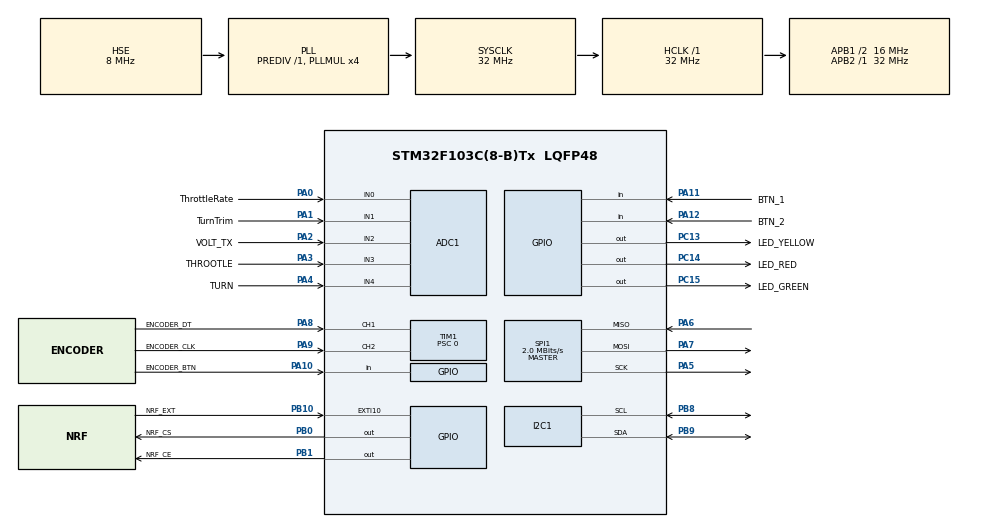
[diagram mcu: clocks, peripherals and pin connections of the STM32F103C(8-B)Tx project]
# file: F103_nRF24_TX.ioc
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ADC1.Channel-10\#ChannelRegularConversion=ADC_CHANNEL_2
ADC1.Channel-11\#ChannelRegularConversion=ADC_CHANNEL_1
ADC1.Channel-12\#ChannelRegularConversion=ADC_CHANNEL_0
ADC1.Channel-8\#ChannelRegularConversion=ADC_CHANNEL_3
ADC1.Channel-9\#ChannelRegularConversion=ADC_CHANNEL_4
ADC1.ContinuousConvMode=ENABLE
ADC1.DataAlign=ADC_DATAALIGN_RIGHT
ADC1.DiscontinuousConvMode=DISABLE
ADC1.EnableAnalogWatchDog=false
ADC1.EnableRegularConversion=ENABLE
ADC1.ExternalTrigConv=ADC_SOFTWARE_START
ADC1.InjNumberOfConversion=0
ADC1.NbrOfConversion=5
ADC1.NbrOfConversionFlag=1
ADC1.Rank-10\#ChannelRegularConversion=3
ADC1.Rank-11\#ChannelRegularConversion=4
ADC1.Rank-12\#ChannelRegularConversion=5
ADC1.Rank-8\#ChannelRegularConversion=1
ADC1.Rank-9\#ChannelRegularConversion=2
ADC1.SamplingTime-10\#ChannelRegularConversion=ADC_SAMPLETIME_239CYCLES_5
ADC1.SamplingTime-11\#ChannelRegularConversion=ADC_SAMPLETIME_239CYCLES_5
ADC1.SamplingTime-12\#ChannelRegularConversion=ADC_SAMPLETIME_239CYCLES_5
ADC1.SamplingTime-8\#ChannelRegularConversion=ADC_SAMPLETIME_239CYCLES_5
ADC1.SamplingTime-9\#ChannelRegularConversion=ADC_SAMPLETIME_239CYCLES_5
ADC1.ScanConvMode=ADC_SCAN_ENABLE
ADC1.master=1
Dma.ADC1.0.Direction=DMA_PERIPH_TO_MEMORY
Dma.ADC1.0.Instance=DMA1_Channel1
Dma.ADC1.0.MemDataAlignment=DMA_MDATAALIGN_HALFWORD
Dma.ADC1.0.MemInc=DMA_MINC_ENABLE
Dma.ADC1.0.Mode=DMA_CIRCULAR
Dma.ADC1.0.PeriphDataAlignment=DMA_PDATAALIGN_HALFWORD
Dma.ADC1.0.PeriphInc=DMA_PINC_DISABLE
Dma.ADC1.0.Priority=DMA_PRIORITY_MEDIUM
Dma.Request0=ADC1
I2C1.I2C_Mode=I2C_Fast
Mcu.Family=STM32F1
Mcu.Name=STM32F103C(8-B)Tx
Mcu.Package=LQFP48
NVIC.DMA1_Channel1_IRQn=true\:0\:0\:false\:false\:true\:false
NVIC.EXTI15_10_IRQn=true\:0\:0\:false\:false\:true\:true
NVIC.PriorityGroup=NVIC_PRIORITYGROUP_4
NVIC.TIM2_IRQn=true\:1\:0\:true\:false\:true\:true
NVIC.TIM3_IRQn=true\:0\:0\:false\:false\:true\:true
PA0-WKUP.GPIO_Label=ThrottleRate
PA0-WKUP.Signal=ADCx_IN0
PA1.GPIO_Label=TurnTrim
PA1.Signal=ADCx_IN1
PA10.GPIO_Label=ENCODER_BTN
PA10.GPIO_PuPd=GPIO_PULLUP
PA10.Signal=GPIO_Input
PA11.GPIO_Label=BTN_1
PA11.GPIO_PuPd=GPIO_PULLUP
PA11.Signal=GPIO_Input
PA12.GPIO_Label=BTN_2
PA12.GPIO_PuPd=GPIO_PULLUP
PA12.Signal=GPIO_Input
PA13.Mode=Serial_Wire
PA13.Signal=SYS_JTMS-SWDIO
PA14.Mode=Serial_Wire
PA14.Signal=SYS_JTCK-SWCLK
PA2.GPIO_Label=VOLT_TX
PA2.Signal=ADCx_IN2
PA3.GPIO_Label=THROOTLE
PA3.Signal=ADCx_IN3
PA4.GPIO_Label=TURN
PA4.Signal=ADCx_IN4
PA5.Mode=Full_Duplex_Master
PA5.Signal=SPI1_SCK
PA6.Mode=Full_Duplex_Master
PA6.Signal=SPI1_MISO
PA7.Mode=Full_Duplex_Master
PA7.Signal=SPI1_MOSI
PA8.GPIO_Label=ENCODER_DT
PA8.Signal=S_TIM1_CH1
PA9.GPIO_Label=ENCODER_CLK
PA9.Signal=S_TIM1_CH2
PB0.GPIO_Label=NRF_CS
PB0.Signal=GPIO_Output
PB1.GPIO_Label=NRF_CE
PB1.Signal=GPIO_Output
PB10.GPIO_Label=NRF_EXT
PB10.GPIO_ModeDefaultEXTI=GPIO_MODE_IT_FALLING
PB10.Signal=GPXTI10
PB8.Mode=I2C
PB8.Signal=I2C1_SCL
PB9.Mode=I2C
PB9.Signal=I2C1_SDA
PC13-TAMPER-RTC.GPIO_Label=LED_YELLOW
PC13-TAMPER-RTC.Signal=GPIO_Output
PC14-OSC32_IN.GPIO_Label=LED_RED
PC14-OSC32_IN.Signal=GPIO_Output
PC15-OSC32_OUT.GPIO_Label=LED_GREEN
PC15-OSC32_OUT.Signal=GPIO_Output
PD0-OSC_IN.Mode=HSE-External-Oscillator
PD0-OSC_IN.Signal=RCC_OSC_IN
PD1-OSC_OUT.Mode=HSE-External-Oscillator
PD1-OSC_OUT.Signal=RCC_OSC_OUT
ProjectManager.HeapSize=0x200
ProjectManager.StackSize=0x400
ProjectManager.TargetToolchain=MDK-ARM V5
RCC.ADCPresc=RCC_ADCPCLK2_DIV8
RCC.AHBFreq_Value=32000000
RCC.APB1CLKDivider=RCC_HCLK_DIV2
RCC.APB1Freq_Value=16000000
RCC.APB1TimFreq_Value=32000000
RCC.APB2Freq_Value=32000000
RCC.APB2TimFreq_Value=32000000
RCC.HCLKFreq_Value=32000000
RCC.PLLMUL=RCC_PLL_MUL4
RCC.PLLSourceVirtual=RCC_PLLSOURCE_HSE
RCC.SYSCLKFreq_VALUE=32000000
RCC.SYSCLKSource=RCC_SYSCLKSOURCE_PLLCLK
RCC.USBFreq_Value=32000000
SH.ADCx_IN0.0=ADC1_IN0,IN0
SH.ADCx_IN1.0=ADC1_IN1,IN1
SH.ADCx_IN2.0=ADC1_IN2,IN2
SH.ADCx_IN3.0=ADC1_IN3,IN3
SH.ADCx_IN4.0=ADC1_IN4,IN4
SH.S_TIM1_CH1.0=TIM1_CH1,Encoder_Interface
SH.S_TIM1_CH2.0=TIM1_CH2,Encoder_Interface
SPI1.BaudRatePrescaler=SPI_BAUDRATEPRESCALER_16
SPI1.CalculateBaudRate=2.0 MBits/s
SPI1.Direction=SPI_DIRECTION_2LINES
SPI1.Mode=SPI_MODE_MASTER
SPI1.VirtualType=VM_MASTER
TIM1.EncoderMode=TIM_ENCODERMODE_TI1
TIM1.Period=127
TIM1.Prescaler=0
TIM1.RepetitionCounter=0
TIM2.Period=63
TIM2.Prescaler=31999
TIM2.TIM_MasterOutputTrigger=TIM_TRGO_UPDATE
TIM2.TIM_MasterSlaveMode=TIM_MASTERSLAVEMODE_DISABLE
TIM3.Period=10
TIM3.Prescaler=31999
VP_TIM2_VS_ClockSourceINT.Mode=Internal
VP_TIM3_VS_ClockSourceINT.Mode=Internal
board=F103_nRF24_TX

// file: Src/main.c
/* USER CODE BEGIN Header */
/**
  ******************************************************************************
  * @file           : main.c
  * @brief          : Main program body
  ******************************************************************************
  ** This notice applies to any and all portions of this file
  * that are not between comment pairs USER CODE BEGIN and
  * USER CODE END. Other portions of this file, whether
  * inserted by the user or by software development tools
  * are owned by their respective copyright owners.
  *
  * COPYRIGHT(c) 2018 STMicroelectronics
  *
  * Redistribution and use in source and binary forms, with or without modification,
  * are permitted provided that the following conditions are met:
  *   1. Redistributions of source code must retain the above copyright notice,
  *      this list of conditions and the following disclaimer.
  *   2. Redistributions in binary form must reproduce the above copyright notice,
  *      this list of conditions and the following disclaimer in the documentation
  *      and/or other materials provided with the distribution.
  *   3. Neither the name of STMicroelectronics nor the names of its contributors
  *      may be used to endorse or promote products derived from this software
  *      without specific prior written permission.
  *
  * THIS SOFTWARE IS PROVIDED BY THE COPYRIGHT HOLDERS AND CONTRIBUTORS "AS IS"
  * AND ANY EXPRESS OR IMPLIED WARRANTIES, INCLUDING, BUT NOT LIMITED TO, THE
  * IMPLIED WARRANTIES OF MERCHANTABILITY AND FITNESS FOR A PARTICULAR PURPOSE ARE
  * DISCLAIMED. IN NO EVENT SHALL THE COPYRIGHT HOLDER OR CONTRIBUTORS BE LIABLE
  * FOR ANY DIRECT, INDIRECT, INCIDENTAL, SPECIAL, EXEMPLARY, OR CONSEQUENTIAL
  * DAMAGES (INCLUDING, BUT NOT LIMITED TO, PROCUREMENT OF SUBSTITUTE GOODS OR
  * SERVICES; LOSS OF USE, DATA, OR PROFITS; OR BUSINESS INTERRUPTION) HOWEVER
  * CAUSED AND ON ANY THEORY OF LIABILITY, WHETHER IN CONTRACT, STRICT LIABILITY,
  * OR TORT (INCLUDING NEGLIGENCE OR OTHERWISE) ARISING IN ANY WAY OUT OF THE USE
  * OF THIS SOFTWARE, EVEN IF ADVISED OF THE POSSIBILITY OF SUCH DAMAGE.
  *
  ******************************************************************************
  */
/* USER CODE END Header */

#include "main.h"

/* USER CODE BEGIN Includes */
#include "NRF24.h"
#include "ssd1306.h"
#include <string.h>
#include "New_CalibriLight14.h"

#define DRIVE HAL_GPIO_ReadPin(GPIOB, GPIO_PIN_3)==GPIO_PIN_SET
#define REAR  HAL_GPIO_ReadPin(GPIOB, GPIO_PIN_4)==GPIO_PIN_SET
#define LEFT  HAL_GPIO_ReadPin(GPIOB, GPIO_PIN_6)==GPIO_PIN_SET
#define RIGHT HAL_GPIO_ReadPin(GPIOB, GPIO_PIN_5)==GPIO_PIN_SET

#define LED_MAIN_ON			HAL_GPIO_WritePin(GPIOC, GPIO_PIN_14, GPIO_PIN_SET)
#define LED_MAIN_OFF			HAL_GPIO_WritePin(GPIOC, GPIO_PIN_14, GPIO_PIN_RESET)

#define LED_YELLOW_ON		HAL_GPIO_WritePin(GPIOC, GPIO_PIN_13, GPIO_PIN_SET)
#define LED_YELLOW_OFF  	HAL_GPIO_WritePin(GPIOC, GPIO_PIN_13, GPIO_PIN_RESET)
#define LED_YELLOW_TOG   	HAL_GPIO_TogglePin(GPIOC, GPIO_PIN_13)

#define REED_BTN_1 HAL_GPIO_ReadPin(GPIOA, GPIO_PIN_11)==GPIO_PIN_RESET
#define REED_BTN_2 HAL_GPIO_ReadPin(GPIOA, GPIO_PIN_12)==GPIO_PIN_RESET

/* USER CODE END Includes */

ADC_HandleTypeDef hadc1;
DMA_HandleTypeDef hdma_adc1;

I2C_HandleTypeDef hi2c1;

SPI_HandleTypeDef hspi1;

TIM_HandleTypeDef htim1;
TIM_HandleTypeDef htim2;
TIM_HandleTypeDef htim3;

/* USER CODE BEGIN PV */
/* Private variables ---------------------------------------------------------*/
char str1[20]={0};
uint8_t buf1[20]={0}; // Буфер на отправку
extern uint8_t RX_BUF[TX_PLOAD_WIDTH+1]; // Буфер приема

volatile uint16_t ADC_Data[10]; // Для хранения данных из DMA

float ADC_1_Percent;  // АЦП Руля
float ADC_2_Percent;	// АЦП Газа
float ADC_3_Percent;
float ADC_4_Percent;
char str[20];
float Volt = 0.0; 		// Переменная напряжения в пульте
uint16_t MenuDelay=0;	// Задержка работы меню, обновления дисплея
uint8_t OptionFlag = 0; // 1 - Если перешли в режим настройки

struct But {
	uint8_t ButEvent; // 1-Короткий клик, 2-Длиный клик.
	uint8_t ButDown; // 1-Если кнопка сейчас нажата.
	uint8_t ButFlag; // 1-Если сработало нажатие
	uint8_t ButEventTime; // Время, которое висит собитек кнопки.
	uint16_t ButDownTime;//время удержания кнопки.
	uint16_t ButUpTime;
};
extern struct But But1; // Машина состояний кнопки энкодера
uint8_t Menu = 11;			// Переменная для уровней меню
uint8_t OldParam, NewParam; //Старые и новые значения настраиваемых данных
/* USER CODE END PV */

void SystemClock_Config(void);
static void MX_GPIO_Init(void);
static void MX_DMA_Init(void);
static void MX_SPI1_Init(void);
static void MX_I2C1_Init(void);
static void MX_ADC1_Init(void);
static void MX_TIM1_Init(void);
static void MX_TIM2_Init(void);
static void MX_TIM3_Init(void);
/* USER CODE BEGIN PFP */
/* Private function prototypes -----------------------------------------------*/

void MainMenu (void);
uint8_t SetResBits (uint8_t set, uint8_t value, uint8_t pos);
uint8_t CheckBits (uint8_t value, uint8_t pos);

/* USER CODE END PFP */

int main(void)
{
  /* USER CODE BEGIN 1 */
	static uint8_t dt; // Переменная для количества попыток отправления.
	static uint16_t i=1;
	uint16_t ADC_1, ADC_1_sr, ADC_1_sr_trim, ADC_1_max=0, ADC_1_min=4096;
	uint16_t ADC_2, ADC_2_sr, ADC_2_max=0, ADC_2_min=4096;

	uint16_t rate = 0; //расходы газа
	int16_t trim = 0; // Тример руля

	uint8_t LedFlashNumb = 0;
  /* USER CODE END 1 */

  /* MCU Configuration--------------------------------------------------------*/

  /* Reset of all peripherals, Initializes the Flash interface and the Systick. */
  HAL_Init();

  /* Configure the system clock */
  SystemClock_Config();

  /* Initialize all configured peripherals */
  MX_GPIO_Init();
  MX_DMA_Init();
  MX_SPI1_Init();
  MX_I2C1_Init();
  MX_ADC1_Init();
  MX_TIM1_Init();
  MX_TIM2_Init();
  MX_TIM3_Init();
  /* USER CODE BEGIN 2 */
	HAL_Delay(100);

	i=0;
	while ((LCD_init() !=1)||i<50){
		i++;
		LedFlashNumb++;
		if (LedFlashNumb == 1) {
			LED_GREEN_ON;
			LED_YELLOW_OFF;
			LED_MAIN_OFF;
		} else if (LedFlashNumb == 2) {
			LED_GREEN_OFF;
			LED_YELLOW_ON;
			LED_MAIN_OFF;
		} else if (LedFlashNumb == 3) {
			LED_GREEN_OFF;
			LED_YELLOW_OFF;
			LED_MAIN_ON;
		} else if (LedFlashNumb > 3) LedFlashNumb = 0;
	}

	LED_MAIN_ON;

	HAL_ADC_Start_DMA(&hadc1,(uint32_t*) &ADC_Data,5);
	HAL_TIM_Encoder_Start(&htim1, TIM_CHANNEL_ALL);
	TIM1->CNT = 2; // Стартовое положение энкодера;

	NRF24_ini();
	HAL_Delay(10);
	HAL_TIM_Base_Start_IT(&htim2);
	HAL_TIM_Base_Start_IT(&htim3);

	ADC_1_max=3700;
	ADC_1_min=205;
	ADC_1_sr_trim = 2018;
	ADC_1_sr = 2018; //50% 2018

	ADC_2_max=2800;
	ADC_2_min=1095;
	ADC_2_sr = 2220; // 44%

  /* USER CODE END 2 */

  /* Infinite loop */
  while (1)
  {

    /* USER CODE BEGIN 3 */

		if (MenuDelay>5){
			MainMenu();
			MenuDelay = 0;
		}
		MenuDelay++;

//		ADC_2 = ((float)ADC_Data[0]);
//		ADC_2_Percent=(100.0/(ADC_2_max-ADC_2_min))*(ADC_2-ADC_2_min);

		Volt = 0.00278 * ADC_Data[2];

		if (OptionFlag == 0) { // если не находимся в режиме настроек.

			rate = (uint16_t)(0.025 * ADC_Data[3]);
			if (rate > 100 ) rate = 100;
			if (rate < 0 ) rate = 0;
			rate = 100 - rate;

			trim = (0.05 * (ADC_Data[4] - 2000)) + (1 - 0.05) * trim;

         ADC_1_sr = ADC_1_sr_trim + trim;
			ADC_1 = ADC_Data[1];

			if (ADC_1 > ADC_1_sr) {
				if (ADC_1 > ADC_1_max) ADC_1 = ADC_1_max;
				ADC_1_Percent = ((100.0) / (ADC_1_max - ADC_1_sr)) * (ADC_1 - ADC_1_sr);
				buf1[0] = 100 + (uint8_t) ADC_1_Percent;
			}

			if (ADC_1 < ADC_1_sr) {
				if (ADC_1 < ADC_1_min) ADC_1 = ADC_1_min;
				ADC_1_Percent = ((100.0) / (ADC_1_sr - ADC_1_min)) * (ADC_1 - ADC_1_sr);
				buf1[0] = 100 - (uint8_t) ADC_1_Percent;
			}

			ADC_2 = ADC_Data[0];

			if (ADC_2 > ADC_2_sr) {
				ADC_2_Percent = ((100.0 - rate) / (ADC_2_max - ADC_2_sr)) * (ADC_2 - ADC_2_sr);
				if (ADC_2_Percent > 100) ADC_2_Percent = 100;
				buf1[1] = 100 - (uint8_t) ADC_2_Percent;
			} else

			if (ADC_2 < ADC_2_sr) {
				ADC_2_Percent = ((100.0 - rate) / (ADC_2_sr - ADC_2_min)) * (ADC_2 - ADC_2_sr);
				if (ADC_2_Percent > 100) ADC_2_Percent = 100;
				buf1[1] = 100 + (uint8_t) ADC_2_Percent;
			}

			if ((ADC_2 > ADC_2_sr - 50) && (ADC_2 < ADC_2_sr + 50)) {
				buf1[1] = 100;
			}

			LED_YELLOW_OFF;

//			buf1[0] = 100;
//			buf1[1] = 100;

			if (REED_BTN_1) {
				buf1[2] = SetResBits(1,buf1[2],1);
			} else {
				buf1[2] = SetResBits(0,buf1[2],1);
			}
			if (REED_BTN_2) {
				buf1[2] = SetResBits(1,buf1[2],2);
			} else {
				buf1[2] = SetResBits(0,buf1[2],2);
			}
			HAL_Delay(20);
			dt = NRF24L01_Send(buf1);
		}
		else {
			HAL_Delay(10);
			LED_YELLOW_ON;
		}

		if ((Menu>20 && Menu<30)||OptionFlag==1)
			NRF24L01_Receive();
  }
  /* USER CODE END 3 */
}

void SystemClock_Config(void)
{
  RCC_OscInitTypeDef RCC_OscInitStruct = {0};
  RCC_ClkInitTypeDef RCC_ClkInitStruct = {0};
  RCC_PeriphCLKInitTypeDef PeriphClkInit = {0};

  /**Initializes the CPU, AHB and APB busses clocks
  */
  RCC_OscInitStruct.OscillatorType = RCC_OSCILLATORTYPE_HSE;
  RCC_OscInitStruct.HSEState = RCC_HSE_ON;
  RCC_OscInitStruct.HSEPredivValue = RCC_HSE_PREDIV_DIV1;
  RCC_OscInitStruct.HSIState = RCC_HSI_ON;
  RCC_OscInitStruct.PLL.PLLState = RCC_PLL_ON;
  RCC_OscInitStruct.PLL.PLLSource = RCC_PLLSOURCE_HSE;
  RCC_OscInitStruct.PLL.PLLMUL = RCC_PLL_MUL4;
  if (HAL_RCC_OscConfig(&RCC_OscInitStruct) != HAL_OK)
  {
    Error_Handler();
  }
  /**Initializes the CPU, AHB and APB busses clocks
  */
  RCC_ClkInitStruct.ClockType = RCC_CLOCKTYPE_HCLK|RCC_CLOCKTYPE_SYSCLK
                              |RCC_CLOCKTYPE_PCLK1|RCC_CLOCKTYPE_PCLK2;
  RCC_ClkInitStruct.SYSCLKSource = RCC_SYSCLKSOURCE_PLLCLK;
  RCC_ClkInitStruct.AHBCLKDivider = RCC_SYSCLK_DIV1;
  RCC_ClkInitStruct.APB1CLKDivider = RCC_HCLK_DIV2;
  RCC_ClkInitStruct.APB2CLKDivider = RCC_HCLK_DIV1;

  if (HAL_RCC_ClockConfig(&RCC_ClkInitStruct, FLASH_LATENCY_1) != HAL_OK)
  {
    Error_Handler();
  }
  PeriphClkInit.PeriphClockSelection = RCC_PERIPHCLK_ADC;
  PeriphClkInit.AdcClockSelection = RCC_ADCPCLK2_DIV8;
  if (HAL_RCCEx_PeriphCLKConfig(&PeriphClkInit) != HAL_OK)
  {
    Error_Handler();
  }
}

static void MX_ADC1_Init(void)
{

  ADC_ChannelConfTypeDef sConfig = {0};

  /**Common config
  */
  hadc1.Instance = ADC1;
  hadc1.Init.ScanConvMode = ADC_SCAN_ENABLE;
  hadc1.Init.ContinuousConvMode = ENABLE;
  hadc1.Init.DiscontinuousConvMode = DISABLE;
  hadc1.Init.ExternalTrigConv = ADC_SOFTWARE_START;
  hadc1.Init.DataAlign = ADC_DATAALIGN_RIGHT;
  hadc1.Init.NbrOfConversion = 5;
  if (HAL_ADC_Init(&hadc1) != HAL_OK)
  {
    Error_Handler();
  }
  /**Configure Regular Channel
  */
  sConfig.Channel = ADC_CHANNEL_3;
  sConfig.Rank = ADC_REGULAR_RANK_1;
  sConfig.SamplingTime = ADC_SAMPLETIME_239CYCLES_5;
  if (HAL_ADC_ConfigChannel(&hadc1, &sConfig) != HAL_OK)
  {
    Error_Handler();
  }
  /**Configure Regular Channel
  */
  sConfig.Channel = ADC_CHANNEL_4;
  sConfig.Rank = ADC_REGULAR_RANK_2;
  if (HAL_ADC_ConfigChannel(&hadc1, &sConfig) != HAL_OK)
  {
    Error_Handler();
  }
  /**Configure Regular Channel
  */
  sConfig.Channel = ADC_CHANNEL_2;
  sConfig.Rank = ADC_REGULAR_RANK_3;
  if (HAL_ADC_ConfigChannel(&hadc1, &sConfig) != HAL_OK)
  {
    Error_Handler();
  }
  /**Configure Regular Channel
  */
  sConfig.Channel = ADC_CHANNEL_1;
  sConfig.Rank = ADC_REGULAR_RANK_4;
  if (HAL_ADC_ConfigChannel(&hadc1, &sConfig) != HAL_OK)
  {
    Error_Handler();
  }
  /**Configure Regular Channel
  */
  sConfig.Channel = ADC_CHANNEL_0;
  sConfig.Rank = ADC_REGULAR_RANK_5;
  if (HAL_ADC_ConfigChannel(&hadc1, &sConfig) != HAL_OK)
  {
    Error_Handler();
  }

}

static void MX_I2C1_Init(void)
{

  hi2c1.Instance = I2C1;
  hi2c1.Init.ClockSpeed = 400000;
  hi2c1.Init.DutyCycle = I2C_DUTYCYCLE_2;
  hi2c1.Init.OwnAddress1 = 0;
  hi2c1.Init.AddressingMode = I2C_ADDRESSINGMODE_7BIT;
  hi2c1.Init.DualAddressMode = I2C_DUALADDRESS_DISABLE;
  hi2c1.Init.OwnAddress2 = 0;
  hi2c1.Init.GeneralCallMode = I2C_GENERALCALL_DISABLE;
  hi2c1.Init.NoStretchMode = I2C_NOSTRETCH_DISABLE;
  if (HAL_I2C_Init(&hi2c1) != HAL_OK)
  {
    Error_Handler();
  }

}

static void MX_SPI1_Init(void)
{

  /* SPI1 parameter configuration*/
  hspi1.Instance = SPI1;
  hspi1.Init.Mode = SPI_MODE_MASTER;
  hspi1.Init.Direction = SPI_DIRECTION_2LINES;
  hspi1.Init.DataSize = SPI_DATASIZE_8BIT;
  hspi1.Init.CLKPolarity = SPI_POLARITY_LOW;
  hspi1.Init.CLKPhase = SPI_PHASE_1EDGE;
  hspi1.Init.NSS = SPI_NSS_SOFT;
  hspi1.Init.BaudRatePrescaler = SPI_BAUDRATEPRESCALER_16;
  hspi1.Init.FirstBit = SPI_FIRSTBIT_MSB;
  hspi1.Init.TIMode = SPI_TIMODE_DISABLE;
  hspi1.Init.CRCCalculation = SPI_CRCCALCULATION_DISABLE;
  hspi1.Init.CRCPolynomial = 10;
  if (HAL_SPI_Init(&hspi1) != HAL_OK)
  {
    Error_Handler();
  }

}

static void MX_TIM1_Init(void)
{

  TIM_Encoder_InitTypeDef sConfig = {0};
  TIM_MasterConfigTypeDef sMasterConfig = {0};

  htim1.Instance = TIM1;
  htim1.Init.Prescaler = 0;
  htim1.Init.CounterMode = TIM_COUNTERMODE_UP;
  htim1.Init.Period = 127;
  htim1.Init.ClockDivision = TIM_CLOCKDIVISION_DIV1;
  htim1.Init.RepetitionCounter = 0;
  htim1.Init.AutoReloadPreload = TIM_AUTORELOAD_PRELOAD_DISABLE;
  sConfig.EncoderMode = TIM_ENCODERMODE_TI1;
  sConfig.IC1Polarity = TIM_ICPOLARITY_RISING;
  sConfig.IC1Selection = TIM_ICSELECTION_DIRECTTI;
  sConfig.IC1Prescaler = TIM_ICPSC_DIV1;
  sConfig.IC1Filter = 0;
  sConfig.IC2Polarity = TIM_ICPOLARITY_RISING;
  sConfig.IC2Selection = TIM_ICSELECTION_DIRECTTI;
  sConfig.IC2Prescaler = TIM_ICPSC_DIV1;
  sConfig.IC2Filter = 0;
  if (HAL_TIM_Encoder_Init(&htim1, &sConfig) != HAL_OK)
  {
    Error_Handler();
  }
  sMasterConfig.MasterOutputTrigger = TIM_TRGO_RESET;
  sMasterConfig.MasterSlaveMode = TIM_MASTERSLAVEMODE_DISABLE;
  if (HAL_TIMEx_MasterConfigSynchronization(&htim1, &sMasterConfig) != HAL_OK)
  {
    Error_Handler();
  }

}

static void MX_TIM2_Init(void)
{

  TIM_ClockConfigTypeDef sClockSourceConfig = {0};
  TIM_MasterConfigTypeDef sMasterConfig = {0};

  htim2.Instance = TIM2;
  htim2.Init.Prescaler = 31999;
  htim2.Init.CounterMode = TIM_COUNTERMODE_UP;
  htim2.Init.Period = 63;
  htim2.Init.ClockDivision = TIM_CLOCKDIVISION_DIV1;
  htim2.Init.AutoReloadPreload = TIM_AUTORELOAD_PRELOAD_DISABLE;
  if (HAL_TIM_Base_Init(&htim2) != HAL_OK)
  {
    Error_Handler();
  }
  sClockSourceConfig.ClockSource = TIM_CLOCKSOURCE_INTERNAL;
  if (HAL_TIM_ConfigClockSource(&htim2, &sClockSourceConfig) != HAL_OK)
  {
    Error_Handler();
  }
  sMasterConfig.MasterOutputTrigger = TIM_TRGO_UPDATE;
  sMasterConfig.MasterSlaveMode = TIM_MASTERSLAVEMODE_DISABLE;
  if (HAL_TIMEx_MasterConfigSynchronization(&htim2, &sMasterConfig) != HAL_OK)
  {
    Error_Handler();
  }

}

static void MX_TIM3_Init(void)
{

  TIM_ClockConfigTypeDef sClockSourceConfig = {0};
  TIM_MasterConfigTypeDef sMasterConfig = {0};

  htim3.Instance = TIM3;
  htim3.Init.Prescaler = 31999;
  htim3.Init.CounterMode = TIM_COUNTERMODE_UP;
  htim3.Init.Period = 10;
  htim3.Init.ClockDivision = TIM_CLOCKDIVISION_DIV1;
  htim3.Init.AutoReloadPreload = TIM_AUTORELOAD_PRELOAD_DISABLE;
  if (HAL_TIM_Base_Init(&htim3) != HAL_OK)
  {
    Error_Handler();
  }
  sClockSourceConfig.ClockSource = TIM_CLOCKSOURCE_INTERNAL;
  if (HAL_TIM_ConfigClockSource(&htim3, &sClockSourceConfig) != HAL_OK)
  {
    Error_Handler();
  }
  sMasterConfig.MasterOutputTrigger = TIM_TRGO_RESET;
  sMasterConfig.MasterSlaveMode = TIM_MASTERSLAVEMODE_DISABLE;
  if (HAL_TIMEx_MasterConfigSynchronization(&htim3, &sMasterConfig) != HAL_OK)
  {
    Error_Handler();
  }

}

static void MX_DMA_Init(void)
{
  /* DMA controller clock enable */
  __HAL_RCC_DMA1_CLK_ENABLE();

  /* DMA interrupt init */
  /* DMA1_Channel1_IRQn interrupt configuration */
  HAL_NVIC_SetPriority(DMA1_Channel1_IRQn, 0, 0);
  HAL_NVIC_EnableIRQ(DMA1_Channel1_IRQn);

}

static void MX_GPIO_Init(void)
{
  GPIO_InitTypeDef GPIO_InitStruct = {0};

  /* GPIO Ports Clock Enable */
  __HAL_RCC_GPIOC_CLK_ENABLE();
  __HAL_RCC_GPIOD_CLK_ENABLE();
  __HAL_RCC_GPIOA_CLK_ENABLE();
  __HAL_RCC_GPIOB_CLK_ENABLE();

  /*Configure GPIO pin Output Level */
  HAL_GPIO_WritePin(GPIOC, LED_YELLOW_Pin|LED_RED_Pin|LED_GREEN_Pin, GPIO_PIN_RESET);

  /*Configure GPIO pin Output Level */
  HAL_GPIO_WritePin(GPIOB, NRF_CS_Pin|NRF_CE_Pin, GPIO_PIN_RESET);

  /*Configure GPIO pins : LED_YELLOW_Pin LED_RED_Pin LED_GREEN_Pin */
  GPIO_InitStruct.Pin = LED_YELLOW_Pin|LED_RED_Pin|LED_GREEN_Pin;
  GPIO_InitStruct.Mode = GPIO_MODE_OUTPUT_PP;
  GPIO_InitStruct.Pull = GPIO_NOPULL;
  GPIO_InitStruct.Speed = GPIO_SPEED_FREQ_LOW;
  HAL_GPIO_Init(GPIOC, &GPIO_InitStruct);

  /*Configure GPIO pins : NRF_CS_Pin NRF_CE_Pin */
  GPIO_InitStruct.Pin = NRF_CS_Pin|NRF_CE_Pin;
  GPIO_InitStruct.Mode = GPIO_MODE_OUTPUT_PP;
  GPIO_InitStruct.Pull = GPIO_NOPULL;
  GPIO_InitStruct.Speed = GPIO_SPEED_FREQ_LOW;
  HAL_GPIO_Init(GPIOB, &GPIO_InitStruct);

  /*Configure GPIO pin : NRF_EXT_Pin */
  GPIO_InitStruct.Pin = NRF_EXT_Pin;
  GPIO_InitStruct.Mode = GPIO_MODE_IT_FALLING;
  GPIO_InitStruct.Pull = GPIO_NOPULL;
  HAL_GPIO_Init(NRF_EXT_GPIO_Port, &GPIO_InitStruct);

  /*Configure GPIO pins : ENCODER_BTN_Pin BTN_1_Pin BTN_2_Pin */
  GPIO_InitStruct.Pin = ENCODER_BTN_Pin|BTN_1_Pin|BTN_2_Pin;
  GPIO_InitStruct.Mode = GPIO_MODE_INPUT;
  GPIO_InitStruct.Pull = GPIO_PULLUP;
  HAL_GPIO_Init(GPIOA, &GPIO_InitStruct);

  /* EXTI interrupt init*/
  HAL_NVIC_SetPriority(EXTI15_10_IRQn, 0, 0);
  HAL_NVIC_EnableIRQ(EXTI15_10_IRQn);

}

/* USER CODE BEGIN 4 */
void HAL_GPIO_EXTI_Callback(uint16_t GPIO_Pin)
{
  if(GPIO_Pin== GPIO_PIN_10)
  {
    IRQ_Callback();
  }
  else
  {
    __NOP();
  }
}

void HAL_TIM_PeriodElapsedCallback(TIM_HandleTypeDef *htim)
{
  if(htim==&htim2)
  {
    TIM1_Callback();
  }
}

void MainMenu (void){
	char str[20];
	float VoltRx = 0;
	uint8_t i=0;

	if (But1.ButEvent == 1 && (Menu == 11 || Menu == 21 || Menu == 31)) {
		Menu += 10;
		if (Menu > 40)
			Menu -= 30;
		But1.ButEvent = 0;
	}
//======================= Первый уровень меню ==========================
	if (Menu>10 && Menu<20) {

		LCD_RectFill(1,1,32,128,0x00);
		LCD_BarHorizont(1,1,5,50,buf1[0]/2,0x01,0x00);
		sprintf(str,"Ch1 = %d", buf1[0]);
//		sprintf(str,"Ch1 = %d", ADC_Data[1]);
		StringCalibriLight14(6,1,str,0x01,0x02);

		LCD_BarHorizont(1,60,5,50,buf1[1]/2,0x01,0x00);
		sprintf(str,"Ch2 = %d", buf1[1]);
		StringCalibriLight14(6,60,str,0x01,0x02);

		sprintf(str,"Длит. наж - Настройка");
		StringCalibriLight14(20,1,str,0x01,0x02);
		buf1[4] = 0;
//---------------------- Переход в подменю -------------------------------
		if (But1.ButEvent == 2 && Menu == 11) {
			LCD_RectFill(1,1,32,128,0x00);
			StringCalibriLight14(1,1,"Для выхода длинно",0x01,0x02);
			StringCalibriLight14(14,1,"нажмите кнопку",0x01,0x02);
			PrintBuf();
			Menu++;
			OptionFlag = 1; // Перешли в режим настройки
			HAL_Delay(1500);
			if (Menu>14) Menu = 12;
			But1.ButEvent = 0;
		}
//---------------------- Переход в подменю -------------------------------
//-------------------------- Подменю 1 -----------------------------------
		if (Menu == 12){
			LCD_RectFill(1,1,32,128,0x00);
			sprintf(str,"Max влево=%d", RX_BUF[0]);
			StringCalibriLight14(6,1,str,0x01,0x02);
			buf1[4] = 2; // 4 - настройка центра рулевой машинки.
			NRF24L01_Send(buf1);
			HAL_Delay(3);

			if (RX_BUF[0] > 0 && RX_BUF[4] == 2) { // если данные от приемника пришли.
				if (TIM1->CNT == 1) {
					TIM1->CNT = 2;
					buf1[0] = RX_BUF[0] + 1;
				}
				if (TIM1->CNT == 3) {
					TIM1->CNT = 2;
					buf1[0] = RX_BUF[0] - 1;
				}
			}
			if (TIM1->CNT<1 || TIM1->CNT>3) TIM1->CNT = 2;

			if (But1.ButEvent==2){
				Menu = 11;
				OptionFlag = 0;
				But1.ButEvent = 0;
			}
			if (But1.ButEvent==1){
				Menu = 13;
				RX_BUF[0] = 0;
				RX_BUF[4] = 0;
				But1.ButEvent = 0;
			}
		}
//-------------------------- Подменю 1 -----------------------------------
//-------------------------- Подменю 2 -----------------------------------
		if (Menu == 13){
			LCD_RectFill(1,1,32,128,0x00);
			sprintf(str,"Max вправо=%d", RX_BUF[0]);
			StringCalibriLight14(6,1,str,0x01,0x02);
			buf1[4] = 3; // 4 - настройка центра рулевой машинки.
			NRF24L01_Send(buf1);
			HAL_Delay(3);

			if (RX_BUF[0] > 0 && RX_BUF[4] == 3) { // если данные от приемника пришли.
				if (TIM1->CNT == 1) {
					TIM1->CNT = 2;
					buf1[0] = RX_BUF[0] + 1;
				}
				if (TIM1->CNT == 3) {
					TIM1->CNT = 2;
					buf1[0] = RX_BUF[0] - 1;
				}
			}
			if (TIM1->CNT<1 || TIM1->CNT>3) TIM1->CNT = 2;

			if (But1.ButEvent==2){
				Menu = 11;
				OptionFlag = 0;
				But1.ButEvent = 0;
			}
			if (But1.ButEvent==1){
				Menu = 14;
				RX_BUF[0] = 0;
				RX_BUF[4] = 0;
				But1.ButEvent = 0;
			}
		}
//-------------------------- Подменю 2 -----------------------------------
//-------------------------- Подменю 3 -----------------------------------
		if (Menu == 14){
			LCD_RectFill(1,1,32,128,0x00);
			sprintf(str,"Центр - %d", RX_BUF[0]);
			StringCalibriLight14(6,60,str,0x01,0x02);
			buf1[4] = 5; // 5 - настройка центра рулевой машинки.
			NRF24L01_Send(buf1);
			HAL_Delay(3);

			if (RX_BUF[0] > 0 && RX_BUF[4] == 5) { // если данные от приемника пришли.
				if (TIM1->CNT == 1) {
					TIM1->CNT = 2;
					buf1[0] = RX_BUF[0] + 1;
				}
				if (TIM1->CNT == 3) {
					TIM1->CNT = 2;
					buf1[0] = RX_BUF[0] - 1;
				}
			}
			if (TIM1->CNT<1 || TIM1->CNT>3) TIM1->CNT = 2;

			if (But1.ButEvent==2){
				Menu = 11;
				OptionFlag = 0;
				But1.ButEvent = 0;
			}
			if (But1.ButEvent==1){
				Menu = 15;
				RX_BUF[0] = 0;
				RX_BUF[4] = 0;
				But1.ButEvent = 0;
			}
		}
//-------------------------- Подменю 3 -----------------------------------
//-------------------------- Подменю 4 -----------------------------------
		if (Menu == 15){
			LCD_RectFill(1,1,32,128,0x00);
			sprintf(str,"Макс. мощ - %d", RX_BUF[0]);
			StringCalibriLight14(6,1,str,0x01,0x02);
			buf1[4] = 6; // 4 - настройка центра рулевой машинки.
			NRF24L01_Send(buf1);
			HAL_Delay(3);

			if (RX_BUF[0] > 0 && RX_BUF[4] == 6) { // если данные от приемника пришли.
				if (TIM1->CNT == 1) {
					TIM1->CNT = 2;
					buf1[0] = RX_BUF[0] + 1;
				}
				if (TIM1->CNT == 3) {
					TIM1->CNT = 2;
					buf1[0] = RX_BUF[0] - 1;
				}
			}
			if (TIM1->CNT<1 || TIM1->CNT>3) TIM1->CNT = 2;

			if (But1.ButEvent==2){
				Menu = 11;
				OptionFlag = 0;
				But1.ButEvent = 0;
			}
			if (But1.ButEvent==1){
				Menu = 12;
				RX_BUF[0] = 0;
				RX_BUF[4] = 0;
				But1.ButEvent = 0;
			}
		}
	}
//-------------------------- Подменю 4 -----------------------------------
//======================= Первый уровень меню ==========================

//======================= Второй уровень меню ==========================
	if (Menu>20 && Menu<30) {
		LCD_RectFill(1,1,32,128,0x00);
		sprintf(str,"Батарея пульта = %.1f В", Volt);
		StringCalibriLight14(1,1,str,0x01,0x02);

//		LCD_BarHorizont(1,60,5,50,(uint8_t)100 - (100/1.7)*(6 - Volt),0x01,0x00);

		memcpy(&VoltRx, RX_BUF, 4);
		sprintf(str,"Батарея борта = %.1f В", VoltRx);
		StringCalibriLight14(20,1,str,0x01,0x02);
		buf1[4] = 1;
	}
//======================= Второй уровень меню ==========================

//======================= Третий уровень меню ==========================
	if (Menu>30 && Menu<40) {
		LCD_RectFill(1,1,32,128,0x00);
		sprintf(str,"Дополнительные каналы");
		StringCalibriLight14(1,1,str,0x01,0x02);
		sprintf(str,"Длит. наж - Настройка");
		StringCalibriLight14(20,1,str,0x01,0x02);
		buf1[4] = 0;
//---------------------- Переход в подменю -------------------------------
		if (But1.ButEvent == 2 && Menu == 31) {
			LCD_RectFill(1,1,32,128,0x00);
			Menu++;
			if (Menu>35) Menu = 32;
			But1.ButEvent = 0;
		}
//---------------------- Переход в подменю -------------------------------
//-------------------------- Подменю 1 -----------------------------------
		if (Menu == 32){
			LCD_RectFill(1,1,32,128,0x00);
			sprintf(str,"Ch1 = %d", CheckBits(buf1[2],0));
			StringCalibriLight14(2,3,str,0x01,0x02);
			LCD_Rect(1,1,15,41,0x01);
			sprintf(str," Для выхода");
			StringCalibriLight14(1,50,str,0x01,0x02);
			sprintf(str,"длит. нажатие");
			StringCalibriLight14(14,50,str,0x01,0x02);

			if (TIM1->CNT == 1) {
				TIM1->CNT = 2;
				buf1[2] = SetResBits(1,buf1[2],0);
			}
			if (TIM1->CNT == 3) {
				TIM1->CNT = 2;
				buf1[2] = SetResBits(0,buf1[2],0);
			}
			if (TIM1->CNT<1 || TIM1->CNT>3) TIM1->CNT = 2;

			if (But1.ButEvent==2){
				Menu = 31;
				But1.ButEvent = 0;
			}
			if (But1.ButEvent==1){
				Menu = 33;
				But1.ButEvent = 0;
			}
		}
//-------------------------- Подменю 1 -----------------------------------
//-------------------------- Подменю 2 -----------------------------------
		if (Menu == 33){
			LCD_RectFill(1,1,32,128,0x00);
			sprintf(str,"Ch2 = %d", CheckBits(buf1[2],1));
			StringCalibriLight14(2,3,str,0x01,0x02);
			LCD_Rect(1,1,15,41,0x01);
			sprintf(str," Для выхода");
			StringCalibriLight14(1,50,str,0x01,0x02);
			sprintf(str,"длит. нажатие");
			StringCalibriLight14(14,50,str,0x01,0x02);

			if (TIM1->CNT == 1) {
				TIM1->CNT = 2;
				buf1[2] = SetResBits(1,buf1[2],1);
			}
			if (TIM1->CNT == 3) {
				TIM1->CNT = 2;
				buf1[2] = SetResBits(0,buf1[2],1);
			}
			if (TIM1->CNT<1 || TIM1->CNT>3) TIM1->CNT = 2;

			if (But1.ButEvent==2){
				Menu = 31;
				But1.ButEvent = 0;
			}
			if (But1.ButEvent==1){
				Menu = 34;
				But1.ButEvent = 0;
			}
		}
//-------------------------- Подменю 2 -----------------------------------
//-------------------------- Подменю 3 -----------------------------------
		if (Menu == 34){
			LCD_RectFill(1,1,32,128,0x00);
			sprintf(str,"Ch3 = %d", CheckBits(buf1[2],2));
			StringCalibriLight14(2,3,str,0x01,0x02);
			LCD_Rect(1,1,15,41,0x01);
			sprintf(str," Для выхода");
			StringCalibriLight14(1,50,str,0x01,0x02);
			sprintf(str,"длит. нажатие");
			StringCalibriLight14(14,50,str,0x01,0x02);

			if (TIM1->CNT == 1) {
				TIM1->CNT = 2;
				buf1[2] = SetResBits(1,buf1[2],2);
			}
			if (TIM1->CNT == 3) {
				TIM1->CNT = 2;
				buf1[2] = SetResBits(0,buf1[2],2);
			}
			if (TIM1->CNT<1 || TIM1->CNT>3) TIM1->CNT = 2;

			if (But1.ButEvent==2){
				Menu = 31;
				But1.ButEvent = 0;
			}
			if (But1.ButEvent==1){
				Menu = 35;
				But1.ButEvent = 0;
			}
		}
//-------------------------- Подменю 3 -----------------------------------
//-------------------------- Подменю 4 -----------------------------------
		if (Menu == 35){
			LCD_RectFill(1,1,32,128,0x00);
			sprintf(str,"Ch4 = %d", CheckBits(buf1[2],3));
			StringCalibriLight14(2,3,str,0x01,0x02);
			LCD_Rect(1,1,15,41,0x01);
			sprintf(str," Для выхода");
			StringCalibriLight14(1,50,str,0x01,0x02);
			sprintf(str,"длит. нажатие");
			StringCalibriLight14(14,50,str,0x01,0x02);

			if (TIM1->CNT == 1) {
				TIM1->CNT = 2;
				buf1[2] = SetResBits(1,buf1[2],3);
			}
			if (TIM1->CNT == 3) {
				TIM1->CNT = 2;
				buf1[2] = SetResBits(0,buf1[2],3);
			}
			if (TIM1->CNT<1 || TIM1->CNT>3) TIM1->CNT = 2;

			if (But1.ButEvent==2){
				Menu = 31;
				But1.ButEvent = 0;
			}
			if (But1.ButEvent==1){
				Menu = 32;
				But1.ButEvent = 0;
			}
		}
//-------------------------- Подменю 4 -----------------------------------
	}
	PrintBuf();
}
//======================= Третий уровень меню ==========================

void Display (void) {

};

uint8_t SetResBits (uint8_t set, uint8_t value, uint8_t pos){ // set==1 - Установить бит
	if (set) {
		return  value |(1 << pos);
	}
	else {
		return value & (~(1 << pos));
	}
}

uint8_t CheckBits (uint8_t value, uint8_t pos){
	if (value & (1<<pos))
		return 1;
	else
		return 0;
}

/* USER CODE END 4 */

void Error_Handler(void)
{
  while(1)
  {
  }
}

/************************ (C) COPYRIGHT STMicroelectronics *****END OF FILE****/
